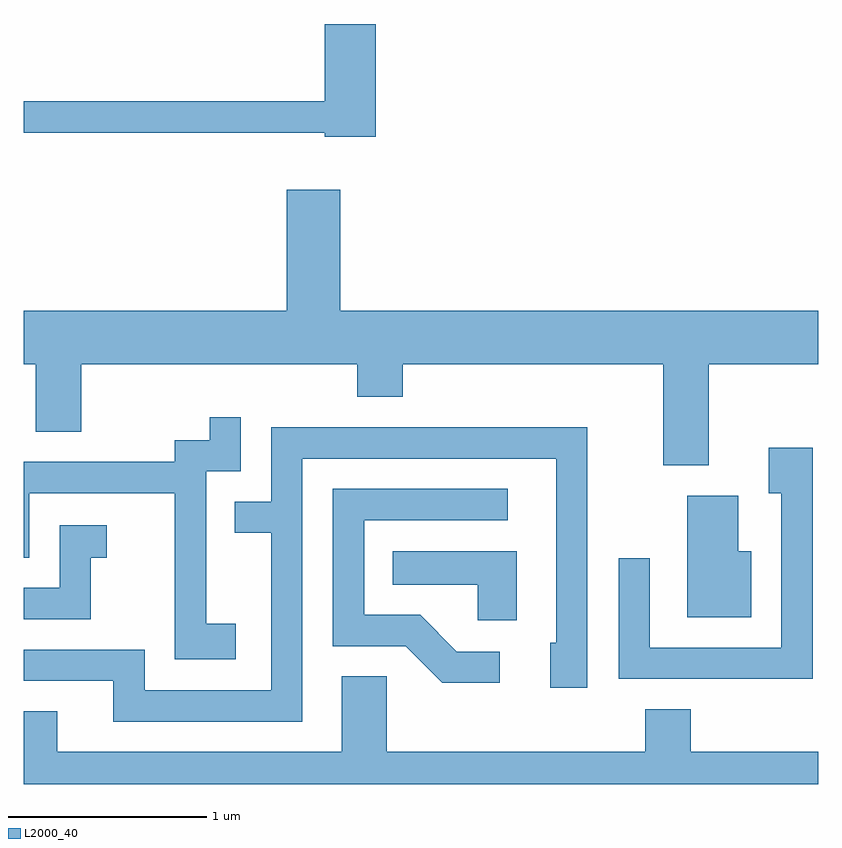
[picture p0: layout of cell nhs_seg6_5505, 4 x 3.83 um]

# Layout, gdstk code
import gdstk
lib = gdstk.Library(unit=1e-6, precision=1e-09)
def P(c, l, *ps):  # polygons
    for p in ps: c.add(gdstk.Polygon(p, *l))
L2000_40 = (2000, 40)

nhs_seg6_5505 = lib.new_cell('nhs_seg6_5505')
P(nhs_seg6_5505, L2000_40, [(355.384,1533.989),(355.126,1533.989),(355.126,1533.599),(353.611,1533.599),(353.611,1533.441),(355.126,1533.441),(355.126,1533.421),(355.384,1533.421)],
  [(357.059,1532.276),(357.611,1532.276),(357.611,1532.544),(355.204,1532.544),(355.204,1533.154),(354.936,1533.154),(354.936,1532.544),(353.611,1532.544),(353.611,1532.276),(353.671,1532.276),(353.671,1531.936),(353.899,1531.936),(353.899,1532.276),(355.291,1532.276),(355.291,1532.111),(355.519,1532.111),(355.519,1532.276),(356.831,1532.276),(356.831,1531.766),(357.059,1531.766)],
  [(354.679,1530.969),(354.529,1530.969),(354.529,1531.736),(354.704,1531.736),(354.704,1532.008),(354.546,1532.008),(354.546,1531.894),(354.371,1531.894),(354.371,1531.784),(353.611,1531.784),(353.611,1531.301),(353.639,1531.301),(353.639,1531.626),(354.371,1531.626),(354.371,1530.791),(354.679,1530.791)],
  [(355.014,1531.801),(356.291,1531.801),(356.291,1530.874),(356.261,1530.874),(356.261,1530.646),(356.449,1530.646),(356.449,1531.959),(354.856,1531.959),(354.856,1531.584),(354.673,1531.584),(354.673,1531.426),(354.856,1531.426),(354.856,1530.634),(354.219,1530.634),(354.219,1530.839),(353.611,1530.839),(353.611,1530.681),(354.061,1530.681),(354.061,1530.476),(355.014,1530.476)],
  [(357.584,1531.854),(357.361,1531.854),(357.361,1531.626),(357.426,1531.626),(357.426,1530.849),(356.764,1530.849),(356.764,1531.298),(356.606,1531.298),(356.606,1530.691),(357.584,1530.691)],
  [(356.008,1530.829),(355.792,1530.829),(355.607,1531.014),(355.324,1531.014),(355.324,1531.491),(356.048,1531.491),(356.048,1531.649),(355.166,1531.649),(355.166,1530.856),(355.534,1530.856),(355.719,1530.671),(356.008,1530.671)],
  [(357.274,1531.334),(357.209,1531.334),(357.209,1531.614),(356.951,1531.614),(356.951,1531.001),(357.274,1531.001)],
  [(353.949,1531.301),(354.028,1531.301),(354.028,1531.464),(353.791,1531.464),(353.791,1531.149),(353.611,1531.149),(353.611,1530.991),(353.949,1530.991)],
  [(356.094,1531.334),(355.468,1531.334),(355.468,1531.166),(355.896,1531.166),(355.896,1530.986),(356.094,1530.986)],
  [(357.611,1530.324),(356.969,1530.324),(356.969,1530.539),(356.741,1530.539),(356.741,1530.324),(355.439,1530.324),(355.439,1530.704),(355.211,1530.704),(355.211,1530.324),(353.779,1530.324),(353.779,1530.529),(353.611,1530.529),(353.611,1530.162),(357.611,1530.162)])

lib.write_gds('nhs_seg6_5505.gds')
